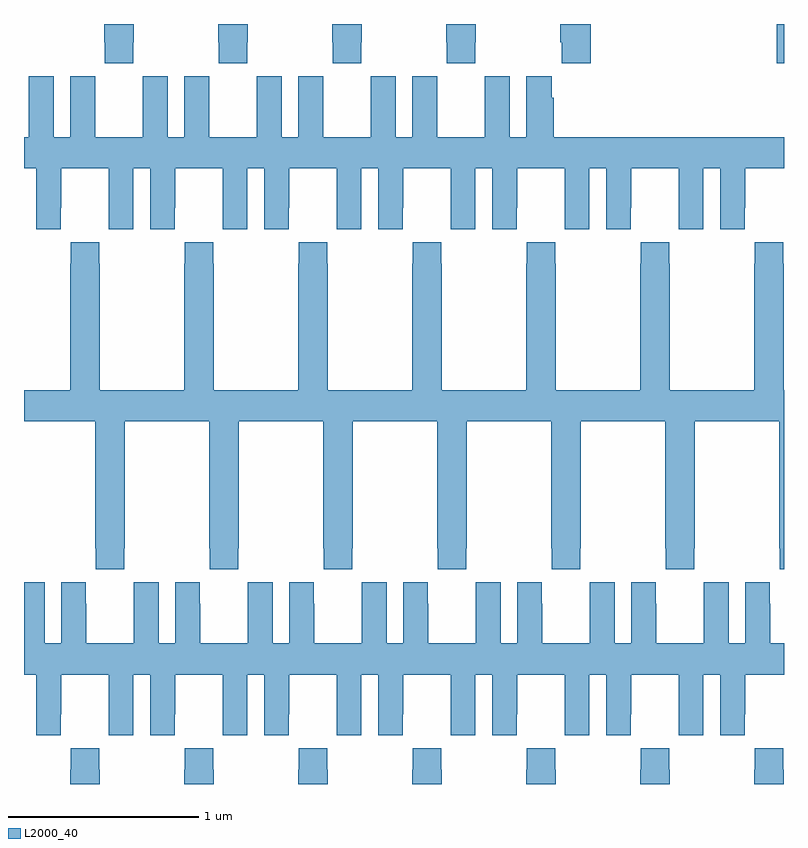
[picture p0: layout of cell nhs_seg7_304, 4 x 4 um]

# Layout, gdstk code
import gdstk
lib = gdstk.Library(unit=1e-6, precision=1e-09)
def R(c, l, rs):  # rectangles x0, y0, x1, y1
    for r in rs: c.add(gdstk.rectangle(r[:2], r[2:], *l))
def P(c, l, *ps):  # polygons
    for p in ps: c.add(gdstk.Polygon(p, *l))
L2000_40 = (2000, 40)

nhs_seg7_304 = lib.new_cell('nhs_seg7_304')
R(nhs_seg7_304, L2000_40, [(136.961,1043.793,137,1044)])
P(nhs_seg7_304, L2000_40, [(134.775,1043.905),(134.778,1043.905),(134.778,1044),(134.623,1044),(134.623,1043.905),(134.625,1043.905),(134.625,1043.793),(134.775,1043.793)],
  [(134.175,1043.905),(134.178,1043.905),(134.178,1044),(134.023,1044),(134.023,1043.905),(134.025,1043.905),(134.025,1043.793),(134.175,1043.793)],
  [(133.575,1043.905),(133.578,1043.905),(133.578,1044),(133.423,1044),(133.423,1043.905),(133.425,1043.905),(133.425,1043.793),(133.575,1043.793)],
  [(135.375,1043.905),(135.378,1043.905),(135.378,1044),(135.223,1044),(135.223,1043.905),(135.225,1043.905),(135.225,1043.793),(135.375,1043.793)],
  [(135.983,1044),(135.823,1044),(135.823,1043.905),(135.829,1043.905),(135.829,1043.793),(135.983,1043.793)],
  [(133.975,1043.612),(133.974,1043.612),(133.974,1043.725),(133.844,1043.725),(133.844,1043.404),(133.756,1043.404),(133.756,1043.725),(133.626,1043.725),(133.626,1043.612),(133.625,1043.612),(133.625,1043.404),(133.375,1043.404),(133.375,1043.612),(133.374,1043.612),(133.374,1043.725),(133.244,1043.725),(133.244,1043.404),(133.156,1043.404),(133.156,1043.725),(133.026,1043.725),(133.026,1043.612),(133.025,1043.612),(133.025,1043.404),(133,1043.404),(133,1043.24),(133.064,1043.24),(133.064,1042.92),(133.194,1042.92),(133.194,1043.032),(133.195,1043.032),(133.195,1043.24),(133.445,1043.24),(133.445,1043.032),(133.446,1043.032),(133.446,1042.92),(133.576,1042.92),(133.576,1043.24),(133.664,1043.24),(133.664,1042.92),(133.794,1042.92),(133.794,1043.032),(133.795,1043.032),(133.795,1043.24),(134.045,1043.24),(134.045,1043.032),(134.046,1043.032),(134.046,1042.92),(134.176,1042.92),(134.176,1043.24),(134.264,1043.24),(134.264,1042.92),(134.394,1042.92),(134.394,1043.032),(134.395,1043.032),(134.395,1043.24),(134.645,1043.24),(134.645,1043.032),(134.646,1043.032),(134.646,1042.92),(134.776,1042.92),(134.776,1043.24),(134.864,1043.24),(134.864,1042.92),(134.994,1042.92),(134.994,1043.032),(134.995,1043.032),(134.995,1043.24),(135.245,1043.24),(135.245,1043.032),(135.246,1043.032),(135.246,1042.92),(135.376,1042.92),(135.376,1043.24),(135.464,1043.24),(135.464,1042.92),(135.594,1042.92),(135.594,1043.032),(135.595,1043.032),(135.595,1043.24),(135.845,1043.24),(135.845,1043.032),(135.846,1043.032),(135.846,1042.92),(135.976,1042.92),(135.976,1043.24),(136.064,1043.24),(136.064,1042.92),(136.194,1042.92),(136.194,1043.032),(136.195,1043.032),(136.195,1043.24),(136.445,1043.24),(136.445,1043.032),(136.446,1043.032),(136.446,1042.92),(136.576,1042.92),(136.576,1043.24),(136.664,1043.24),(136.664,1042.92),(136.794,1042.92),(136.794,1043.032),(136.795,1043.032),(136.795,1043.24),(137,1043.24),(137,1043.404),(135.788,1043.404),(135.788,1043.612),(135.778,1043.612),(135.778,1043.725),(135.644,1043.725),(135.644,1043.404),(135.556,1043.404),(135.556,1043.725),(135.426,1043.725),(135.426,1043.612),(135.425,1043.612),(135.425,1043.404),(135.175,1043.404),(135.175,1043.612),(135.174,1043.612),(135.174,1043.725),(135.044,1043.725),(135.044,1043.404),(134.956,1043.404),(134.956,1043.725),(134.826,1043.725),(134.826,1043.612),(134.825,1043.612),(134.825,1043.404),(134.575,1043.404),(134.575,1043.612),(134.574,1043.612),(134.574,1043.725),(134.444,1043.725),(134.444,1043.404),(134.356,1043.404),(134.356,1043.725),(134.226,1043.725),(134.226,1043.612),(134.225,1043.612),(134.225,1043.404),(133.975,1043.404)],
  [(133.975,1041.241),(133.977,1041.241),(133.977,1041.129),(134.127,1041.129),(134.127,1041.241),(134.13,1041.241),(134.13,1041.908),(134.575,1041.908),(134.575,1041.241),(134.577,1041.241),(134.577,1041.129),(134.727,1041.129),(134.727,1041.241),(134.73,1041.241),(134.73,1041.908),(135.175,1041.908),(135.175,1041.241),(135.177,1041.241),(135.177,1041.129),(135.327,1041.129),(135.327,1041.241),(135.33,1041.241),(135.33,1041.908),(135.775,1041.908),(135.775,1041.241),(135.777,1041.241),(135.777,1041.129),(135.927,1041.129),(135.927,1041.241),(135.93,1041.241),(135.93,1041.908),(136.375,1041.908),(136.375,1041.241),(136.377,1041.241),(136.377,1041.129),(136.527,1041.129),(136.527,1041.241),(136.53,1041.241),(136.53,1041.908),(136.975,1041.908),(136.975,1041.241),(136.977,1041.241),(136.977,1041.129),(137,1041.129),(137,1042.072),(136.998,1042.072),(136.998,1042.739),(136.995,1042.739),(136.995,1042.852),(136.845,1042.852),(136.845,1042.739),(136.843,1042.739),(136.843,1042.072),(136.398,1042.072),(136.398,1042.739),(136.395,1042.739),(136.395,1042.852),(136.245,1042.852),(136.245,1042.739),(136.243,1042.739),(136.243,1042.072),(135.798,1042.072),(135.798,1042.739),(135.795,1042.739),(135.795,1042.852),(135.645,1042.852),(135.645,1042.739),(135.643,1042.739),(135.643,1042.072),(135.198,1042.072),(135.198,1042.739),(135.195,1042.739),(135.195,1042.852),(135.045,1042.852),(135.045,1042.739),(135.043,1042.739),(135.043,1042.072),(134.598,1042.072),(134.598,1042.739),(134.595,1042.739),(134.595,1042.852),(134.445,1042.852),(134.445,1042.739),(134.443,1042.739),(134.443,1042.072),(133.998,1042.072),(133.998,1042.739),(133.995,1042.739),(133.995,1042.852),(133.845,1042.852),(133.845,1042.739),(133.843,1042.739),(133.843,1042.072),(133.398,1042.072),(133.398,1042.739),(133.395,1042.739),(133.395,1042.852),(133.245,1042.852),(133.245,1042.739),(133.243,1042.739),(133.243,1042.072),(133,1042.072),(133,1041.908),(133.375,1041.908),(133.375,1041.241),(133.377,1041.241),(133.377,1041.129),(133.527,1041.129),(133.527,1041.241),(133.53,1041.241),(133.53,1041.908),(133.975,1041.908)],
  [(133.445,1040.368),(133.446,1040.368),(133.446,1040.256),(133.576,1040.256),(133.576,1040.576),(133.664,1040.576),(133.664,1040.256),(133.794,1040.256),(133.794,1040.368),(133.795,1040.368),(133.795,1040.576),(134.045,1040.576),(134.045,1040.368),(134.046,1040.368),(134.046,1040.256),(134.176,1040.256),(134.176,1040.576),(134.264,1040.576),(134.264,1040.256),(134.394,1040.256),(134.394,1040.368),(134.395,1040.368),(134.395,1040.576),(134.645,1040.576),(134.645,1040.368),(134.646,1040.368),(134.646,1040.256),(134.776,1040.256),(134.776,1040.576),(134.864,1040.576),(134.864,1040.256),(134.994,1040.256),(134.994,1040.368),(134.995,1040.368),(134.995,1040.576),(135.245,1040.576),(135.245,1040.368),(135.246,1040.368),(135.246,1040.256),(135.376,1040.256),(135.376,1040.576),(135.464,1040.576),(135.464,1040.256),(135.594,1040.256),(135.594,1040.368),(135.595,1040.368),(135.595,1040.576),(135.845,1040.576),(135.845,1040.368),(135.846,1040.368),(135.846,1040.256),(135.976,1040.256),(135.976,1040.576),(136.064,1040.576),(136.064,1040.256),(136.194,1040.256),(136.194,1040.368),(136.195,1040.368),(136.195,1040.576),(136.445,1040.576),(136.445,1040.368),(136.446,1040.368),(136.446,1040.256),(136.576,1040.256),(136.576,1040.576),(136.664,1040.576),(136.664,1040.256),(136.794,1040.256),(136.794,1040.368),(136.795,1040.368),(136.795,1040.576),(137,1040.576),(137,1040.74),(136.927,1040.74),(136.927,1040.948),(136.926,1040.948),(136.926,1041.061),(136.796,1041.061),(136.796,1040.74),(136.708,1040.74),(136.708,1041.061),(136.578,1041.061),(136.578,1040.948),(136.577,1040.948),(136.577,1040.74),(136.327,1040.74),(136.327,1040.948),(136.326,1040.948),(136.326,1041.061),(136.196,1041.061),(136.196,1040.74),(136.108,1040.74),(136.108,1041.061),(135.978,1041.061),(135.978,1040.948),(135.977,1040.948),(135.977,1040.74),(135.727,1040.74),(135.727,1040.948),(135.726,1040.948),(135.726,1041.061),(135.596,1041.061),(135.596,1040.74),(135.508,1040.74),(135.508,1041.061),(135.378,1041.061),(135.378,1040.948),(135.377,1040.948),(135.377,1040.74),(135.127,1040.74),(135.127,1040.948),(135.126,1040.948),(135.126,1041.061),(134.996,1041.061),(134.996,1040.74),(134.908,1040.74),(134.908,1041.061),(134.778,1041.061),(134.778,1040.948),(134.777,1040.948),(134.777,1040.74),(134.527,1040.74),(134.527,1040.948),(134.526,1040.948),(134.526,1041.061),(134.396,1041.061),(134.396,1040.74),(134.308,1040.74),(134.308,1041.061),(134.178,1041.061),(134.178,1040.948),(134.177,1040.948),(134.177,1040.74),(133.927,1040.74),(133.927,1040.948),(133.926,1040.948),(133.926,1041.061),(133.796,1041.061),(133.796,1040.74),(133.708,1040.74),(133.708,1041.061),(133.578,1041.061),(133.578,1040.948),(133.577,1040.948),(133.577,1040.74),(133.327,1040.74),(133.327,1040.948),(133.326,1040.948),(133.326,1041.061),(133.196,1041.061),(133.196,1040.74),(133.108,1040.74),(133.108,1041.061),(133,1041.061),(133,1040.576),(133.064,1040.576),(133.064,1040.256),(133.194,1040.256),(133.194,1040.368),(133.195,1040.368),(133.195,1040.576),(133.445,1040.576)],
  [(135.045,1040.075),(135.043,1040.075),(135.043,1040),(135.198,1040),(135.198,1040.075),(135.195,1040.075),(135.195,1040.188),(135.045,1040.188)],
  [(135.798,1040.075),(135.795,1040.075),(135.795,1040.188),(135.645,1040.188),(135.645,1040.075),(135.643,1040.075),(135.643,1040),(135.798,1040)],
  [(136.398,1040.075),(136.395,1040.075),(136.395,1040.188),(136.245,1040.188),(136.245,1040.075),(136.243,1040.075),(136.243,1040),(136.398,1040)],
  [(136.998,1040.075),(136.995,1040.075),(136.995,1040.188),(136.845,1040.188),(136.845,1040.075),(136.843,1040.075),(136.843,1040),(136.998,1040)],
  [(134.598,1040.075),(134.595,1040.075),(134.595,1040.188),(134.445,1040.188),(134.445,1040.075),(134.443,1040.075),(134.443,1040),(134.598,1040)],
  [(133.998,1040.075),(133.995,1040.075),(133.995,1040.188),(133.845,1040.188),(133.845,1040.075),(133.843,1040.075),(133.843,1040),(133.998,1040)],
  [(133.398,1040.075),(133.395,1040.075),(133.395,1040.188),(133.245,1040.188),(133.245,1040.075),(133.243,1040.075),(133.243,1040),(133.398,1040)])

lib.write_gds('nhs_seg7_304.gds')
